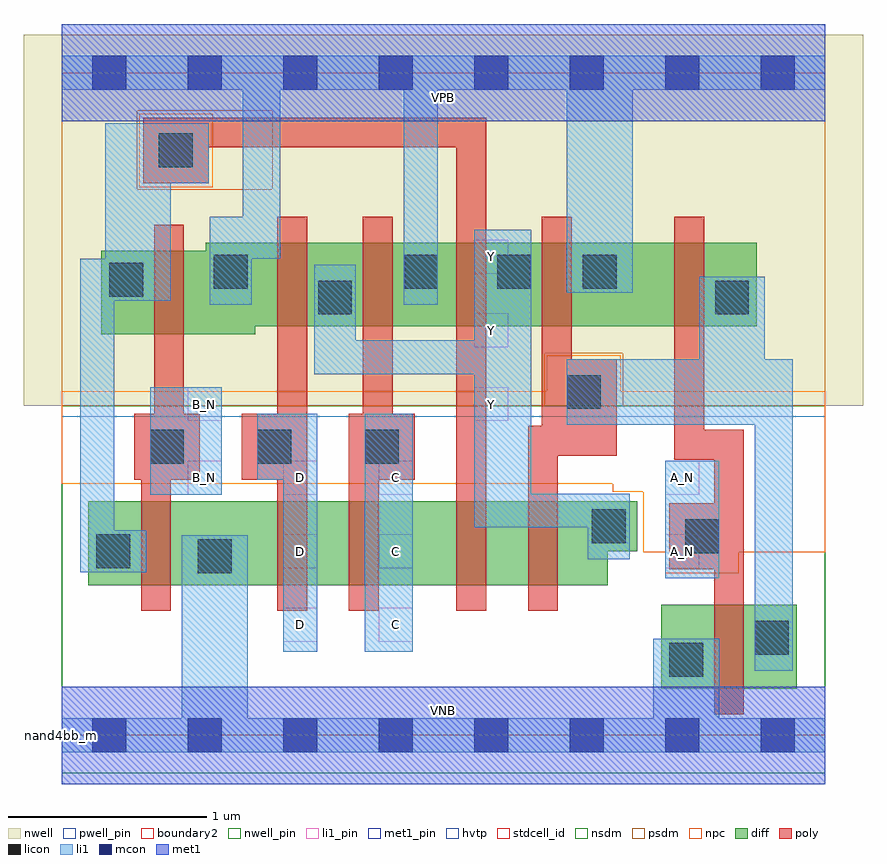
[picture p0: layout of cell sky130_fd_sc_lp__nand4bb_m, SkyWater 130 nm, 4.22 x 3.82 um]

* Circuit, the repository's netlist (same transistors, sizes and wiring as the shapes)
* Copyright 2020 The SkyWater PDK Authors
*
* Licensed under the Apache License, Version 2.0 (the "License");
* you may not use this file except in compliance with the License.
* You may obtain a copy of the License at
*
*     https://www.apache.org/licenses/LICENSE-2.0
*
* Unless required by applicable law or agreed to in writing, software
* distributed under the License is distributed on an "AS IS" BASIS,
* WITHOUT WARRANTIES OR CONDITIONS OF ANY KIND, either express or implied.
* See the License for the specific language governing permissions and
* limitations under the License.
*
* SPDX-License-Identifier: Apache-2.0

.SUBCKT sky130_fd_sc_lp__nand4bb_m A_N B_N C D VGND VNB VPB VPWR Y
*.PININFO A_N:I B_N:I C:I D:I VGND:I VNB:I VPB:I VPWR:I Y:O
MMP0 Y A VPWR VPB sky130_fd_pr__pfet_01v8_hvt m=1 w=0.42U l=0.15U mult=1 sa=0.265
+ sb=0.265 sd=0.28 area=0.063 perim=1.14
MMP1 Y B VPWR VPB sky130_fd_pr__pfet_01v8_hvt m=1 w=0.42U l=0.15U mult=1 sa=0.265
+ sb=0.265 sd=0.28 area=0.063 perim=1.14
MMP2 Y C VPWR VPB sky130_fd_pr__pfet_01v8_hvt m=1 w=0.42U l=0.15U mult=1 sa=0.265
+ sb=0.265 sd=0.28 area=0.063 perim=1.14
MMP3 Y D VPWR VPB sky130_fd_pr__pfet_01v8_hvt m=1 w=0.42U l=0.15U mult=1 sa=0.265
+ sb=0.265 sd=0.28 area=0.063 perim=1.14
MMIP0 A A_N VPWR VPB sky130_fd_pr__pfet_01v8_hvt m=1 w=0.42U l=0.15U mult=1 sa=0.265
+ sb=0.265 sd=0.28 area=0.063 perim=1.14
MMIP1 B B_N VPWR VPB sky130_fd_pr__pfet_01v8_hvt m=1 w=0.42U l=0.15U mult=1 sa=0.265
+ sb=0.265 sd=0.28 area=0.063 perim=1.14
MMN0 Y A sndA VNB sky130_fd_pr__nfet_01v8 m=1 w=0.42U l=0.15U mult=1 sa=0.265 sb=0.265
+ sd=0.28 area=0.063 perim=1.14
MMN1 sndA B sndB VNB sky130_fd_pr__nfet_01v8 m=1 w=0.42U l=0.15U mult=1 sa=0.265
+ sb=0.265 sd=0.28 area=0.063 perim=1.14
MMN2 sndB C sndC VNB sky130_fd_pr__nfet_01v8 m=1 w=0.42U l=0.15U mult=1 sa=0.265
+ sb=0.265 sd=0.28 area=0.063 perim=1.14
MMN3 sndC D VGND VNB sky130_fd_pr__nfet_01v8 m=1 w=0.42U l=0.15U mult=1 sa=0.265
+ sb=0.265 sd=0.28 area=0.063 perim=1.14
MMIN0 A A_N VGND VNB sky130_fd_pr__nfet_01v8 m=1 w=0.42U l=0.15U mult=1 sa=0.265
+ sb=0.265 sd=0.28 area=0.063 perim=1.14
MMIN1 B B_N VGND VNB sky130_fd_pr__nfet_01v8 m=1 w=0.42U l=0.15U mult=1 sa=0.265
+ sb=0.265 sd=0.28 area=0.063 perim=1.14
.ENDS sky130_fd_sc_lp__nand4bb_m

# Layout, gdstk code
import gdstk
lib = gdstk.Library(unit=1e-6, precision=1e-09)
def R(c, l, rs):  # rectangles x0, y0, x1, y1
    for r in rs: c.add(gdstk.rectangle(r[:2], r[2:], *l))
def A(c, l, x, y, w, h, nx, ny, dx, dy):  # array of equal rectangles
    R(c, l, [(x+i*dx, y+j*dy, x+i*dx+w, y+j*dy+h) for i in range(nx) for j in range(ny)])
def P(c, l, *ps):  # polygons
    for p in ps: c.add(gdstk.Polygon(p, *l))
nwell_pin = (64, 16)
nwell = (64, 20)
diff = (65, 20)
poly = (66, 20)
licon = (66, 44)
li1_pin = (67, 16)
li1 = (67, 20)
mcon = (67, 44)
met1_pin = (68, 16)
met1 = (68, 20)
hvtp = (78, 44)
stdcell_id = (81, 4)
nsdm = (93, 44)
psdm = (94, 20)
npc = (95, 20)
pwell_pin = (122, 16)
boundary2 = (236, 0)

sky130_fd_sc_lp__nand4bb = lib.new_cell('sky130_fd_sc_lp__nand4bb_m')
R(sky130_fd_sc_lp__nand4bb, nwell_pin, [(0,3.085,3.84,3.33)])
R(sky130_fd_sc_lp__nand4bb, nwell, [(-0.19,1.655,4.03,3.52)])
R(sky130_fd_sc_lp__nand4bb, diff, [(3.015,0.235,3.695,0.655)])
P(sky130_fd_sc_lp__nand4bb, diff, [(2.895,1.175),(0.135,1.175),(0.135,0.755),(2.745,0.755),(2.745,0.925),(2.895,0.925)],
  [(3.495,2.475),(0.725,2.475),(0.725,2.435),(0.2,2.435),(0.2,2.015),(0.975,2.015),(0.975,2.055),(3.495,2.055)])
R(sky130_fd_sc_lp__nand4bb, poly, [(0.41,2.775,0.74,3.105)])
P(sky130_fd_sc_lp__nand4bb, poly, [(0.695,1.615),(0.615,1.615),(0.615,2.565),(0.465,2.565),(0.465,1.615),(0.365,1.615),(0.365,1.285),(0.4,1.285),(0.4,0.625),(0.55,0.625),(0.55,1.285),(0.695,1.285)],
  [(1.235,2.605),(1.085,2.605),(1.085,1.615),(0.905,1.615),(0.905,1.285),(1.085,1.285),(1.085,0.625),(1.235,0.625)],
  [(1.775,1.615),(1.665,1.615),(1.665,2.605),(1.515,2.605),(1.515,1.615),(1.445,1.615),(1.445,0.625),(1.595,0.625),(1.595,1.285),(1.775,1.285)],
  [(2.79,1.89),(2.565,1.89),(2.565,2.605),(2.415,2.605),(2.415,1.555),(2.345,1.555),(2.345,0.625),(2.495,0.625),(2.495,1.405),(2.79,1.405)],
  [(3.43,1.535),(3.23,1.535),(3.23,2.605),(3.08,2.605),(3.08,1.385),(3.28,1.385),(3.28,1.165),(3.055,1.165),(3.055,0.835),(3.28,0.835),(3.28,0.105),(3.43,0.105)],
  [(2.135,3.105),(0.55,3.105),(0.55,2.955),(1.985,2.955),(1.985,0.625),(2.135,0.625)])
A(sky130_fd_sc_lp__nand4bb, licon, 0.445, 1.365, 0.17, 0.17, 3, 1, 0.54, 0)
R(sky130_fd_sc_lp__nand4bb, licon, [(3.055,0.295,3.225,0.465), (3.485,0.405,3.655,0.575), (0.685,0.815,0.855,0.985), (0.175,0.84,0.345,1.01), (3.135,0.915,3.305,1.085), (2.665,0.965,2.835,1.135), (2.54,1.64,2.71,1.81), (1.29,2.115,1.46,2.285), (3.285,2.115,3.455,2.285), (0.24,2.205,0.41,2.375), (0.765,2.245,0.935,2.415), (1.72,2.245,1.89,2.415), (2.19,2.245,2.36,2.415), (2.62,2.245,2.79,2.415), (0.49,2.855,0.66,3.025)])
A(sky130_fd_sc_lp__nand4bb, li1_pin, 0.635, 1.21, 0.17, 0.17, 3, 1, 0.48, 0)
A(sky130_fd_sc_lp__nand4bb, li1_pin, 2.075, 1.58, 0.17, 0.17, 1, 3, 0, 0.37)
R(sky130_fd_sc_lp__nand4bb, li1_pin, [(1.115,0.47,1.285,0.64), (1.595,0.47,1.765,0.64), (1.115,0.84,1.285,1.01), (1.595,0.84,1.765,1.01), (3.035,0.84,3.205,1.01), (3.035,1.21,3.205,1.38), (0.635,1.58,0.805,1.75)])
R(sky130_fd_sc_lp__nand4bb, li1, [(1.525,0.42,1.765,1.615), (3.035,0.79,3.305,1.38), (0.445,1.21,0.805,1.75)])
P(sky130_fd_sc_lp__nand4bb, li1, [(3.84,3.415),(0,3.415),(0,3.245),(0.91,3.245),(0.91,2.605),(0.745,2.605),(0.745,2.165),(0.955,2.165),(0.955,2.395),(1.1,2.395),(1.1,3.245),(1.72,3.245),(1.72,2.165),(1.89,2.165),(1.89,3.245),(2.54,3.245),(2.54,2.225),(2.87,2.225),(2.87,3.245),(3.84,3.245)],
  [(0.605,0.085),(0.605,1.005),(0.935,1.005),(0.935,0.085),(2.975,0.085),(2.975,0.485),(3.305,0.485),(3.305,0.085),(3.84,0.085),(3.84,-0.085),(0,-0.085),(0,0.085)],
  [(2.075,1.815),(1.27,1.815),(1.27,2.365),(1.48,2.365),(1.48,1.985),(2.075,1.985),(2.075,2.54),(2.36,2.54),(2.36,1.215),(2.855,1.215),(2.855,0.885),(2.645,0.885),(2.645,1.045),(2.075,1.045)],
  [(3.205,1.89),(3.205,2.305),(3.535,2.305),(3.535,1.89),(3.675,1.89),(3.675,0.325),(3.485,0.325),(3.485,1.56),(2.54,1.56),(2.54,1.89)],
  [(0.55,2.775),(0.74,2.775),(0.74,3.075),(0.22,3.075),(0.22,2.395),(0.095,2.395),(0.095,0.82),(0.425,0.82),(0.425,1.03),(0.265,1.03),(0.265,2.185),(0.55,2.185)],
  [(1.115,0.42),(1.115,1.285),(0.985,1.285),(0.985,1.615),(1.285,1.615),(1.285,0.42)])
A(sky130_fd_sc_lp__nand4bb, mcon, 0.155, -0.085, 0.17, 0.17, 8, 2, 0.48, 3.33)
R(sky130_fd_sc_lp__nand4bb, met1_pin, [(0,0,3.84,0.245), (0,3.085,3.84,3.33)])
R(sky130_fd_sc_lp__nand4bb, met1, [(0,-0.245,3.84,0.245), (0,3.085,3.84,3.575)])
R(sky130_fd_sc_lp__nand4bb, hvtp, [(0,1.6,3.84,3.33)])
R(sky130_fd_sc_lp__nand4bb, stdcell_id, [(0,0,3.84,3.33)])
R(sky130_fd_sc_lp__nand4bb, nsdm, [(0,-0.19,3.84,1.655)])
P(sky130_fd_sc_lp__nand4bb, psdm, [(3.84,3.52),(0,3.52),(0,3.14),(1.06,3.14),(1.06,2.745),(0.38,2.745),(0.38,3.14),(0,3.14),(0,1.655),(2.43,1.655),(2.43,1.92),(2.82,1.92),(2.82,1.655),(3.84,1.655)])
R(sky130_fd_sc_lp__nand4bb, npc, [(0.39,2.755,0.76,3.125)])
P(sky130_fd_sc_lp__nand4bb, npc, [(3.84,1.73),(2.81,1.73),(2.81,1.91),(2.44,1.91),(2.44,1.73),(0,1.73),(0,1.265),(2.77,1.265),(2.77,1.225),(2.925,1.225),(2.925,0.92),(3.035,0.92),(3.035,0.815),(3.405,0.815),(3.405,0.92),(3.84,0.92)])
R(sky130_fd_sc_lp__nand4bb, pwell_pin, [(0,0,3.84,0.245)])
R(sky130_fd_sc_lp__nand4bb, boundary2, [(0,0,3.84,3.33)])
sky130_fd_sc_lp__nand4bb.add(gdstk.Label('VNB', (1.92,0.123), layer=64, texttype=59))
sky130_fd_sc_lp__nand4bb.add(gdstk.Label('VPB', (1.92,3.208), layer=64, texttype=5))
sky130_fd_sc_lp__nand4bb.add(gdstk.Label('nand4bb_m', (0,0), layer=83, texttype=44))
sky130_fd_sc_lp__nand4bb.add(gdstk.Label('VPWR', (1.92,3.208), layer=68, texttype=5))
sky130_fd_sc_lp__nand4bb.add(gdstk.Label('VGND', (1.92,0.123), layer=68, texttype=5))
sky130_fd_sc_lp__nand4bb.add(gdstk.Label('Y', (2.16,1.665), layer=67, texttype=5))
sky130_fd_sc_lp__nand4bb.add(gdstk.Label('Y', (2.16,2.035), layer=67, texttype=5))
sky130_fd_sc_lp__nand4bb.add(gdstk.Label('Y', (2.16,2.405), layer=67, texttype=5))
sky130_fd_sc_lp__nand4bb.add(gdstk.Label('C', (1.68,0.555), layer=67, texttype=5))
sky130_fd_sc_lp__nand4bb.add(gdstk.Label('C', (1.68,0.925), layer=67, texttype=5))
sky130_fd_sc_lp__nand4bb.add(gdstk.Label('C', (1.68,1.295), layer=67, texttype=5))
sky130_fd_sc_lp__nand4bb.add(gdstk.Label('B_N', (0.72,1.295), layer=67, texttype=5))
sky130_fd_sc_lp__nand4bb.add(gdstk.Label('B_N', (0.72,1.665), layer=67, texttype=5))
sky130_fd_sc_lp__nand4bb.add(gdstk.Label('D', (1.2,0.555), layer=67, texttype=5))
sky130_fd_sc_lp__nand4bb.add(gdstk.Label('D', (1.2,0.925), layer=67, texttype=5))
sky130_fd_sc_lp__nand4bb.add(gdstk.Label('D', (1.2,1.295), layer=67, texttype=5))
sky130_fd_sc_lp__nand4bb.add(gdstk.Label('A_N', (3.12,0.925), layer=67, texttype=5))
sky130_fd_sc_lp__nand4bb.add(gdstk.Label('A_N', (3.12,1.295), layer=67, texttype=5))

lib.write_gds('sky130_fd_sc_lp__nand4bb_m.gds')
